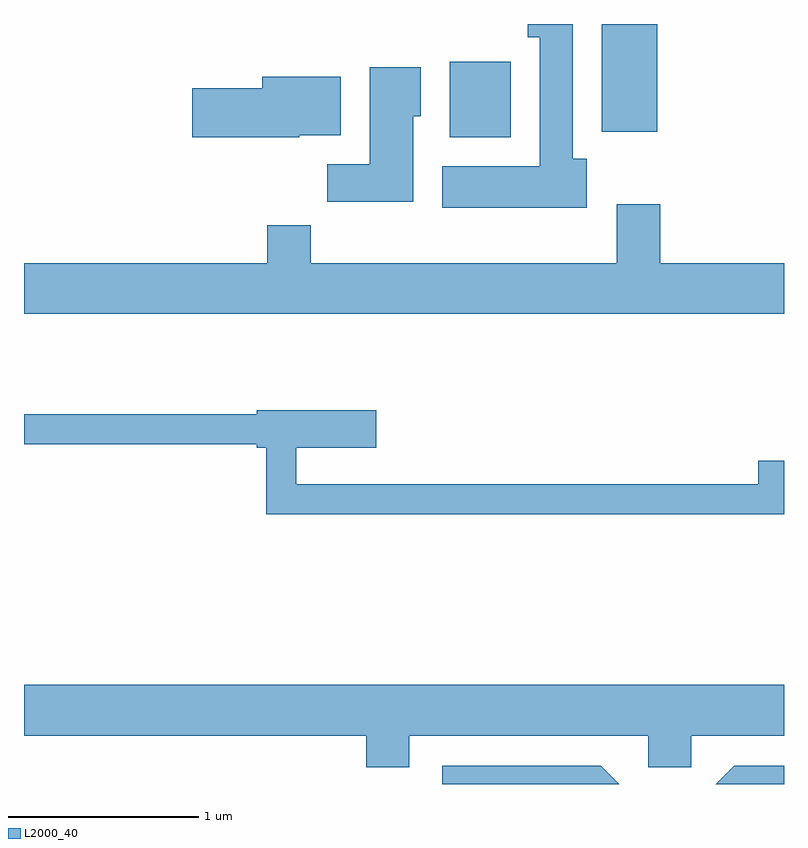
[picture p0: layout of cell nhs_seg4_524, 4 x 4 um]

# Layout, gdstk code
import gdstk
lib = gdstk.Library(unit=1e-6, precision=1e-09)
def R(c, l, rs):  # rectangles x0, y0, x1, y1
    for r in rs: c.add(gdstk.rectangle(r[:2], r[2:], *l))
def P(c, l, *ps):  # polygons
    for p in ps: c.add(gdstk.Polygon(p, *l))
L2000_40 = (2000, 40)

nhs_seg4_524 = lib.new_cell('nhs_seg4_524')
R(nhs_seg4_524, L2000_40, [(201.851,1353.386,202.174,1353.784), (202.651,1353.416,202.944,1353.982)])
P(nhs_seg4_524, L2000_40, [(202.574,1353.274),(202.499,1353.274),(202.499,1353.982),(202.263,1353.982),(202.263,1353.911),(202.326,1353.911),(202.326,1353.234),(201.811,1353.234),(201.811,1353.016),(202.574,1353.016)],
  [(201.659,1353.496),(201.699,1353.496),(201.699,1353.754),(201.431,1353.754),(201.431,1353.244),(201.206,1353.244),(201.206,1353.046),(201.659,1353.046)],
  [(201.06,1353.396),(201.279,1353.396),(201.279,1353.704),(200.866,1353.704),(200.866,1353.644),(200.496,1353.644),(200.496,1353.386),(201.06,1353.386)],
  [(203.611,1352.724),(202.959,1352.724),(202.959,1353.034),(202.731,1353.034),(202.731,1352.724),(201.119,1352.724),(201.119,1352.924),(200.891,1352.924),(200.891,1352.724),(199.611,1352.724),(199.611,1352.456),(203.611,1352.456)],
  [(203.611,1351.684),(203.476,1351.684),(203.476,1351.559),(201.044,1351.559),(201.044,1351.751),(201.464,1351.751),(201.464,1351.949),(200.836,1351.949),(200.836,1351.929),(199.611,1351.929),(199.611,1351.771),(200.836,1351.771),(200.836,1351.751),(200.886,1351.751),(200.886,1351.401),(203.611,1351.401)],
  [(201.639,1350.236),(202.896,1350.236),(202.896,1350.071),(203.124,1350.071),(203.124,1350.236),(203.611,1350.236),(203.611,1350.504),(199.611,1350.504),(199.611,1350.236),(201.411,1350.236),(201.411,1350.071),(201.639,1350.071)],
  [(203.611,1350.079),(203.349,1350.079),(203.252,1349.982),(203.611,1349.982)],
  [(202.647,1350.079),(201.811,1350.079),(201.811,1349.982),(202.744,1349.982)])

lib.write_gds('nhs_seg4_524.gds')
